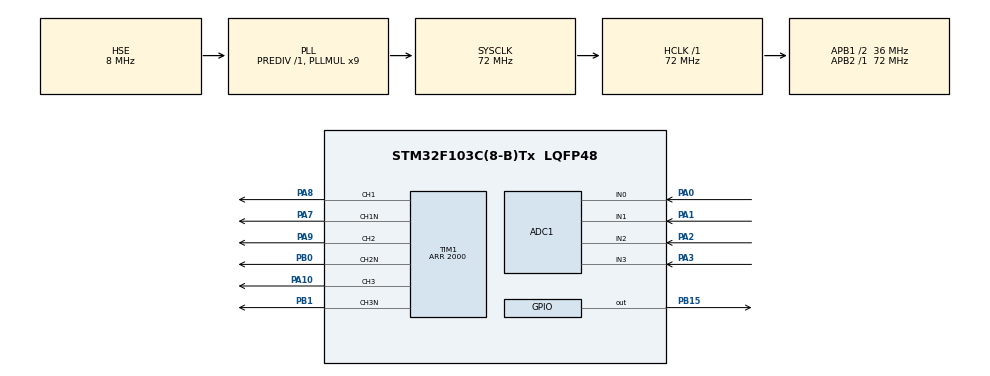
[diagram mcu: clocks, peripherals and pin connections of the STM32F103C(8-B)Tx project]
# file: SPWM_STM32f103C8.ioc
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Mcu.Family=STM32F1
RCC.PLLSourceVirtual=RCC_PLLSOURCE_HSE
Dma.ADC1.0.Instance=DMA1_Channel1
ADC1.Rank-0\#ChannelRegularConversion=1
TIM1.OffStateIDLEMode=TIM_OSSI_ENABLE
PA7.Mode=PWM Generation1 CH1 CH1N
PD1-OSC_OUT.Mode=HSE-External-Oscillator
ADC1.ContinuousConvMode=ENABLE
TIM1.Pulse-PWM\ Generation1\ CH1\ CH1N=360
TIM1.CounterMode=TIM_COUNTERMODE_CENTERALIGNED1
SH.ADCx_IN2.0=ADC1_IN2,IN2
ADC1.DiscontinuousConvMode=DISABLE
NVIC.TIM1_UP_IRQn=true\:0\:0\:false\:false\:true\:true\:true
TIM1.Channel-PWM\ Generation1\ CH1\ CH1N=TIM_CHANNEL_1
PD0-OSC_IN.Signal=RCC_OSC_IN
RCC.APB1CLKDivider=RCC_HCLK_DIV2
PB15.Signal=GPIO_Output
ADC1.SamplingTime-2\#ChannelRegularConversion=ADC_SAMPLETIME_28CYCLES_5
RCC.SYSCLKSource=RCC_SYSCLKSOURCE_PLLCLK
ProjectManager.StackSize=0x400
PA0-WKUP.Signal=ADCx_IN0
PD1-OSC_OUT.Signal=RCC_OSC_OUT
RCC.ADCPresc=RCC_ADCPCLK2_DIV6
TIM1.Pulse-PWM\ Generation2\ CH2\ CH2N=360
PA13.Signal=SYS_JTMS-SWDIO
TIM1.AutoReloadPreload=TIM_AUTORELOAD_PRELOAD_ENABLE
TIM1.Channel-PWM\ Generation2\ CH2\ CH2N=TIM_CHANNEL_2
Dma.ADC1.0.PeriphDataAlignment=DMA_PDATAALIGN_HALFWORD
SH.S_TIM1_CH1.0=TIM1_CH1,PWM Generation1 CH1 CH1N
ProjectManager.TargetToolchain=MDK-ARM V5.27
Dma.ADC1.0.Mode=DMA_CIRCULAR
ADC1.Channel-3\#ChannelRegularConversion=ADC_CHANNEL_3
RCC.HCLKFreq_Value=72000000
SH.ADCx_IN3.0=ADC1_IN3,IN3
Dma.ADC1.0.Priority=DMA_PRIORITY_LOW
RCC.APB2TimFreq_Value=72000000
PA9.Signal=S_TIM1_CH2
ADC1.Channel-1\#ChannelRegularConversion=ADC_CHANNEL_1
Dma.ADC1.0.Direction=DMA_PERIPH_TO_MEMORY
ADC1.Channel-2\#ChannelRegularConversion=ADC_CHANNEL_2
TIM1.AutomaticOutput=TIM_AUTOMATICOUTPUT_ENABLE
TIM1.Channel-PWM\ Generation3\ CH3\ CH3N=TIM_CHANNEL_3
RCC.USBFreq_Value=72000000
Dma.ADC1.0.MemDataAlignment=DMA_MDATAALIGN_HALFWORD
PA1.Signal=ADCx_IN1
RCC.AHBFreq_Value=72000000
PD0-OSC_IN.Mode=HSE-External-Oscillator
ADC1.Channel-0\#ChannelRegularConversion=ADC_CHANNEL_1
PB0.Mode=PWM Generation2 CH2 CH2N
board=custom
RCC.PLLMUL=RCC_PLL_MUL9
RCC.APB2Freq_Value=72000000
ADC1.Rank-2\#ChannelRegularConversion=3
SH.S_TIM1_CH2.0=TIM1_CH2,PWM Generation2 CH2 CH2N
PA14.Mode=Serial_Wire
Dma.ADC1.0.PeriphInc=DMA_PINC_DISABLE
TIM1.DeadTime=100
PA8.Signal=S_TIM1_CH1
SH.ADCx_IN0.0=ADC1_IN0,IN0
TIM1.OffStateRunMode=TIM_OSSR_ENABLE
ADC1.NbrOfConversion=4
PA13.Mode=Serial_Wire
Mcu.Name=STM32F103C(8-B)Tx
TIM1.Pulse-PWM\ Generation3\ CH3\ CH3N=360
VP_TIM1_VS_ClockSourceINT.Mode=Internal
ADC1.SamplingTime-0\#ChannelRegularConversion=ADC_SAMPLETIME_28CYCLES_5
PA2.Signal=ADCx_IN2
ADC1.SamplingTime-1\#ChannelRegularConversion=ADC_SAMPLETIME_28CYCLES_5
RCC.SYSCLKFreq_VALUE=72000000
Mcu.Package=LQFP48
PB1.Signal=TIM1_CH3N
ADC1.master=1
ADC1.Rank-3\#ChannelRegularConversion=4
ADC1.SamplingTime-3\#ChannelRegularConversion=ADC_SAMPLETIME_28CYCLES_5
ADC1.Rank-1\#ChannelRegularConversion=2
PA10.Signal=S_TIM1_CH3
PA14.Signal=SYS_JTCK-SWCLK
Dma.ADC1.0.MemInc=DMA_MINC_ENABLE
NVIC.TIM1_BRK_IRQn=true\:0\:0\:false\:false\:true\:true\:true
ProjectManager.HeapSize=0x200
PB1.Mode=PWM Generation3 CH3 CH3N
SH.S_TIM1_CH3.0=TIM1_CH3,PWM Generation3 CH3 CH3N
NVIC.PriorityGroup=NVIC_PRIORITYGROUP_4
ADC1.NbrOfConversionFlag=1
SH.ADCx_IN1.0=ADC1_IN1,IN1
RCC.APB1TimFreq_Value=72000000
TIM1.Period=2000
NVIC.DMA1_Channel1_IRQn=true\:0\:0\:false\:false\:true\:false\:true
Dma.Request0=ADC1
RCC.APB1Freq_Value=36000000
PB0.Signal=TIM1_CH2N
PA3.Signal=ADCx_IN3
PA7.Signal=TIM1_CH1N

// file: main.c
/* USER CODE BEGIN Header */
/**
  ******************************************************************************
  * @file           : main.c
  * @brief          : Main program body
  ******************************************************************************
  * @attention
  *
  * <h2><center>&copy; Copyright (c) 2021 STMicroelectronics.
  * All rights reserved.</center></h2>
  *
  * This software component is licensed by ST under BSD 3-Clause license,
  * the "License"; You may not use this file except in compliance with the
  * License. You may obtain a copy of the License at:
  *                        opensource.org/licenses/BSD-3-Clause
  *
  ******************************************************************************
  */
/* USER CODE END Header */

#include "main.h"

/* USER CODE BEGIN Includes */
#include <math.h>
#include "SVPWM.h"
#include "PID.h"
#include "park_clarke.h"
#include "sine.h"
#include "modelparam.h"

/* USER CODE END Includes */

/* USER CODE BEGIN PD */
#define PI 3.14159265

/* USER CODE END PD */

ADC_HandleTypeDef hadc1;
DMA_HandleTypeDef hdma_adc1;

TIM_HandleTypeDef htim1;

/* USER CODE BEGIN PV */
PIDController pid_id = { 	Kcd,
													Kcd/tauid,
													0,
													0,
													0, 0,
													-5000,
													5000,
													.003 };

PIDController pid_iq = { 	Kcq,
													Kcq/tauiq,
													0,
													0,
													0, 0,
													-5000,
													5000,
													.003 };

PIDController pid_vel = { 	Kcv,
														Kcv/tauiv,
														0,
														0,
														0, 0,
														-5000,
														5000,
														.003 };

float setpoint = 100;
float mesurment = 0;
float IA=0,IB=-.5,IC=+.5,theta=_PI_3*2,Ialpha,Ibeta,Iq,Id,Ialpha_out,Ibeta_out,Iq_out,Id_out,Ia_out,Ib_out,Ic_out;
double S1,S2,S3;

float Id_ref=0;
float Id_controller_output_AKA_Vd;

float Ws_feedback=30;
float vel_ref=500;
float vel_controller_output_AKA_Iqhat;

uint16_t A_sig=0;

//float Iq_ref=1;
float Iq_controller_output_AKA_Vq;

uint16_t ADC_VALs[4];

/* USER CODE END PV */

void SystemClock_Config(void);
static void MX_GPIO_Init(void);
static void MX_DMA_Init(void);
static void MX_ADC1_Init(void);
static void MX_TIM1_Init(void);

int main(void)
{

  /* MCU Configuration--------------------------------------------------------*/

  /* Reset of all peripherals, Initializes the Flash interface and the Systick. */
  HAL_Init();

  /* Configure the system clock */
  SystemClock_Config();

  /* Initialize all configured peripherals */
  MX_GPIO_Init();
  MX_DMA_Init();
  MX_ADC1_Init();
  MX_TIM1_Init();
  /* USER CODE BEGIN 2 */
	// Analog DMA settings
	HAL_ADC_Start_DMA(&hadc1,( uint32_t *)ADC_VALs,4);

	// PWM settings
	HAL_TIM_PWM_Start(&htim1, TIM_CHANNEL_1);
	HAL_TIM_PWM_Start(&htim1, TIM_CHANNEL_2);
	HAL_TIM_PWM_Start(&htim1, TIM_CHANNEL_3);
	HAL_TIMEx_PWMN_Start(&htim1, TIM_CHANNEL_1); // turn on complementary channel
	HAL_TIMEx_PWMN_Start(&htim1, TIM_CHANNEL_2); // turn on complementary channel
	HAL_TIMEx_PWMN_Start(&htim1, TIM_CHANNEL_3); // turn on complementary channel

/*
	__HAL_TIM_SET_COMPARE(&htim1, TIM_CHANNEL_1,(uint16_t)0);
	__HAL_TIM_SET_COMPARE(&htim1, TIM_CHANNEL_2,(uint16_t)0);
	__HAL_TIM_SET_COMPARE(&htim1, TIM_CHANNEL_3,(uint16_t)0);
*/

  HAL_TIM_Base_Start_IT(&htim1);

  /* USER CODE END 2 */

  /* Infinite loop */
  /* USER CODE BEGIN WHILE */
  while (1)
  {

		//TIM1->ARR =  (uint16_t)(60e3/(map(ADC_VALs[0],0,4048,1,100)));
    /* USER CODE END WHILE */
  }
}

void SystemClock_Config(void)
{
  RCC_OscInitTypeDef RCC_OscInitStruct = {0};
  RCC_ClkInitTypeDef RCC_ClkInitStruct = {0};
  RCC_PeriphCLKInitTypeDef PeriphClkInit = {0};

  /** Initializes the CPU, AHB and APB busses clocks
  */
  RCC_OscInitStruct.OscillatorType = RCC_OSCILLATORTYPE_HSE;
  RCC_OscInitStruct.HSEState = RCC_HSE_ON;
  RCC_OscInitStruct.HSEPredivValue = RCC_HSE_PREDIV_DIV1;
  RCC_OscInitStruct.HSIState = RCC_HSI_ON;
  RCC_OscInitStruct.PLL.PLLState = RCC_PLL_ON;
  RCC_OscInitStruct.PLL.PLLSource = RCC_PLLSOURCE_HSE;
  RCC_OscInitStruct.PLL.PLLMUL = RCC_PLL_MUL9;
  if (HAL_RCC_OscConfig(&RCC_OscInitStruct) != HAL_OK)
  {
    Error_Handler();
  }
  /** Initializes the CPU, AHB and APB busses clocks
  */
  RCC_ClkInitStruct.ClockType = RCC_CLOCKTYPE_HCLK|RCC_CLOCKTYPE_SYSCLK
                              |RCC_CLOCKTYPE_PCLK1|RCC_CLOCKTYPE_PCLK2;
  RCC_ClkInitStruct.SYSCLKSource = RCC_SYSCLKSOURCE_PLLCLK;
  RCC_ClkInitStruct.AHBCLKDivider = RCC_SYSCLK_DIV1;
  RCC_ClkInitStruct.APB1CLKDivider = RCC_HCLK_DIV2;
  RCC_ClkInitStruct.APB2CLKDivider = RCC_HCLK_DIV1;

  if (HAL_RCC_ClockConfig(&RCC_ClkInitStruct, FLASH_LATENCY_2) != HAL_OK)
  {
    Error_Handler();
  }
  PeriphClkInit.PeriphClockSelection = RCC_PERIPHCLK_ADC;
  PeriphClkInit.AdcClockSelection = RCC_ADCPCLK2_DIV6;
  if (HAL_RCCEx_PeriphCLKConfig(&PeriphClkInit) != HAL_OK)
  {
    Error_Handler();
  }
}

static void MX_ADC1_Init(void)
{

  ADC_ChannelConfTypeDef sConfig = {0};

  /** Common config
  */
  hadc1.Instance = ADC1;
  hadc1.Init.ScanConvMode = ADC_SCAN_ENABLE;
  hadc1.Init.ContinuousConvMode = ENABLE;
  hadc1.Init.DiscontinuousConvMode = DISABLE;
  hadc1.Init.ExternalTrigConv = ADC_SOFTWARE_START;
  hadc1.Init.DataAlign = ADC_DATAALIGN_RIGHT;
  hadc1.Init.NbrOfConversion = 4;
  if (HAL_ADC_Init(&hadc1) != HAL_OK)
  {
    Error_Handler();
  }
  /** Configure Regular Channel
  */
  sConfig.Channel = ADC_CHANNEL_0;
  sConfig.Rank = ADC_REGULAR_RANK_1;
  sConfig.SamplingTime = ADC_SAMPLETIME_28CYCLES_5;
  if (HAL_ADC_ConfigChannel(&hadc1, &sConfig) != HAL_OK)
  {
    Error_Handler();
  }
  /** Configure Regular Channel
  */
  sConfig.Channel = ADC_CHANNEL_1;

  sConfig.Rank = ADC_REGULAR_RANK_2;
  if (HAL_ADC_ConfigChannel(&hadc1, &sConfig) != HAL_OK)
  {
    Error_Handler();
  }
  /** Configure Regular Channel
  */
  sConfig.Channel = ADC_CHANNEL_2;
  sConfig.Rank = ADC_REGULAR_RANK_3;
  if (HAL_ADC_ConfigChannel(&hadc1, &sConfig) != HAL_OK)
  {
    Error_Handler();
  }
  /** Configure Regular Channel
  */
  sConfig.Channel = ADC_CHANNEL_3;
  sConfig.Rank = ADC_REGULAR_RANK_4;
  if (HAL_ADC_ConfigChannel(&hadc1, &sConfig) != HAL_OK)
  {
    Error_Handler();
  }

}

static void MX_TIM1_Init(void)
{

  TIM_ClockConfigTypeDef sClockSourceConfig = {0};
  TIM_MasterConfigTypeDef sMasterConfig = {0};
  TIM_OC_InitTypeDef sConfigOC = {0};
  TIM_BreakDeadTimeConfigTypeDef sBreakDeadTimeConfig = {0};

  htim1.Instance = TIM1;
  htim1.Init.Prescaler = 0;
  htim1.Init.CounterMode = TIM_COUNTERMODE_CENTERALIGNED1;
  htim1.Init.Period = 3600;
  htim1.Init.ClockDivision = TIM_CLOCKDIVISION_DIV1;
  htim1.Init.RepetitionCounter = 0;
  htim1.Init.AutoReloadPreload = TIM_AUTORELOAD_PRELOAD_ENABLE;
  if (HAL_TIM_Base_Init(&htim1) != HAL_OK)
  {
    Error_Handler();
  }
  sClockSourceConfig.ClockSource = TIM_CLOCKSOURCE_INTERNAL;
  if (HAL_TIM_ConfigClockSource(&htim1, &sClockSourceConfig) != HAL_OK)
  {
    Error_Handler();
  }
  if (HAL_TIM_PWM_Init(&htim1) != HAL_OK)
  {
    Error_Handler();
  }
  sMasterConfig.MasterOutputTrigger = TIM_TRGO_RESET;
  sMasterConfig.MasterSlaveMode = TIM_MASTERSLAVEMODE_DISABLE;
  if (HAL_TIMEx_MasterConfigSynchronization(&htim1, &sMasterConfig) != HAL_OK)
  {
    Error_Handler();
  }
  sConfigOC.OCMode = TIM_OCMODE_PWM1;
  sConfigOC.Pulse = 360;
  sConfigOC.OCPolarity = TIM_OCPOLARITY_HIGH;
  sConfigOC.OCNPolarity = TIM_OCNPOLARITY_HIGH;
  sConfigOC.OCFastMode = TIM_OCFAST_DISABLE;
  sConfigOC.OCIdleState = TIM_OCIDLESTATE_RESET;
  sConfigOC.OCNIdleState = TIM_OCNIDLESTATE_RESET;
  if (HAL_TIM_PWM_ConfigChannel(&htim1, &sConfigOC, TIM_CHANNEL_1) != HAL_OK)
  {
    Error_Handler();
  }
  if (HAL_TIM_PWM_ConfigChannel(&htim1, &sConfigOC, TIM_CHANNEL_2) != HAL_OK)
  {
    Error_Handler();
  }
  if (HAL_TIM_PWM_ConfigChannel(&htim1, &sConfigOC, TIM_CHANNEL_3) != HAL_OK)
  {
    Error_Handler();
  }
  sBreakDeadTimeConfig.OffStateRunMode = TIM_OSSR_ENABLE;
  sBreakDeadTimeConfig.OffStateIDLEMode = TIM_OSSI_ENABLE;
  sBreakDeadTimeConfig.LockLevel = TIM_LOCKLEVEL_OFF;
  sBreakDeadTimeConfig.DeadTime = 100;
  sBreakDeadTimeConfig.BreakState = TIM_BREAK_DISABLE;
  sBreakDeadTimeConfig.BreakPolarity = TIM_BREAKPOLARITY_HIGH;
  sBreakDeadTimeConfig.AutomaticOutput = TIM_AUTOMATICOUTPUT_ENABLE;
  if (HAL_TIMEx_ConfigBreakDeadTime(&htim1, &sBreakDeadTimeConfig) != HAL_OK)
  {
    Error_Handler();
  }
  HAL_TIM_MspPostInit(&htim1);

}

static void MX_DMA_Init(void)
{

  /* DMA controller clock enable */
  __HAL_RCC_DMA1_CLK_ENABLE();

  /* DMA interrupt init */
  /* DMA1_Channel1_IRQn interrupt configuration */
  HAL_NVIC_SetPriority(DMA1_Channel1_IRQn, 0, 0);
  HAL_NVIC_EnableIRQ(DMA1_Channel1_IRQn);

}

static void MX_GPIO_Init(void)
{
  GPIO_InitTypeDef GPIO_InitStruct = {0};

  /* GPIO Ports Clock Enable */
  __HAL_RCC_GPIOD_CLK_ENABLE();
  __HAL_RCC_GPIOA_CLK_ENABLE();
  __HAL_RCC_GPIOB_CLK_ENABLE();

  /*Configure GPIO pin Output Level */
  HAL_GPIO_WritePin(GPIOB, GPIO_PIN_15, GPIO_PIN_RESET);

  /*Configure GPIO pin : PB15 */
  GPIO_InitStruct.Pin = GPIO_PIN_15;
  GPIO_InitStruct.Mode = GPIO_MODE_OUTPUT_PP;
  GPIO_InitStruct.Pull = GPIO_NOPULL;
  GPIO_InitStruct.Speed = GPIO_SPEED_FREQ_LOW;
  HAL_GPIO_Init(GPIOB, &GPIO_InitStruct);

}

/* USER CODE BEGIN 4 */
void HAL_TIM_PeriodElapsedCallback(TIM_HandleTypeDef* htim){

	if (htim->Instance == TIM1) {

		/* firstly, read the currents	*/
		IA = 10*sin(theta);
		IB = 10*sin(theta-2.094);
		IC = -(IA+IB);

		//Ws_feedback +=.1*Zp;
		theta +=.1;

		/* secondly, the forward transformation, inputs are IA AB, outputs are Iq,Id	*/
		clarke_trans(IA,IB,&Ialpha,&Ibeta);
		park_trans(Ialpha,Ibeta,theta,&Iq,&Id);

		/* Id PID controller */
		//Id_controller_output_AKA_Vd = PIDController_Update(&pid_id,Id_ref,Id);
		//Id_controller_output_AKA_Vd = Id_controller_output_AKA_Vd - (Iq*Ls*Ws_feedback);			// feedforward

		/* speed PID controller */
		//vel_controller_output_AKA_Iqhat = PIDController_Update(&pid_vel,vel_ref,Ws_feedback);

		/* Iq PID controller */
		//Iq_controller_output_AKA_Vq = PIDController_Update(&pid_iq,vel_controller_output_AKA_Iqhat,Iq);
		//Iq_controller_output_AKA_Vq = Iq_controller_output_AKA_Vq + ((Ws_feedback*Phmig)+(Id*Ls*Ws_feedback));		// feedforward

		park_inv_trans(Iq,Id,theta,&Ialpha_out,&Ibeta_out);
		clarke_inv_trans(Ialpha_out,Ibeta_out,&Ia_out,&Ib_out,&Ic_out);

		SVPWM(Ia_out/10,Ib_out/10,Ic_out/10,&S1,&S2,&S3);
		A_sig = S1*3600;
		__HAL_TIM_SET_COMPARE(&htim1, TIM_CHANNEL_1,(uint16_t)A_sig);

		if(theta >= 2*_PI)theta=.05;

	}
}
/* USER CODE END 4 */

void Error_Handler(void)
{
}

/************************ (C) COPYRIGHT STMicroelectronics *****END OF FILE****/
